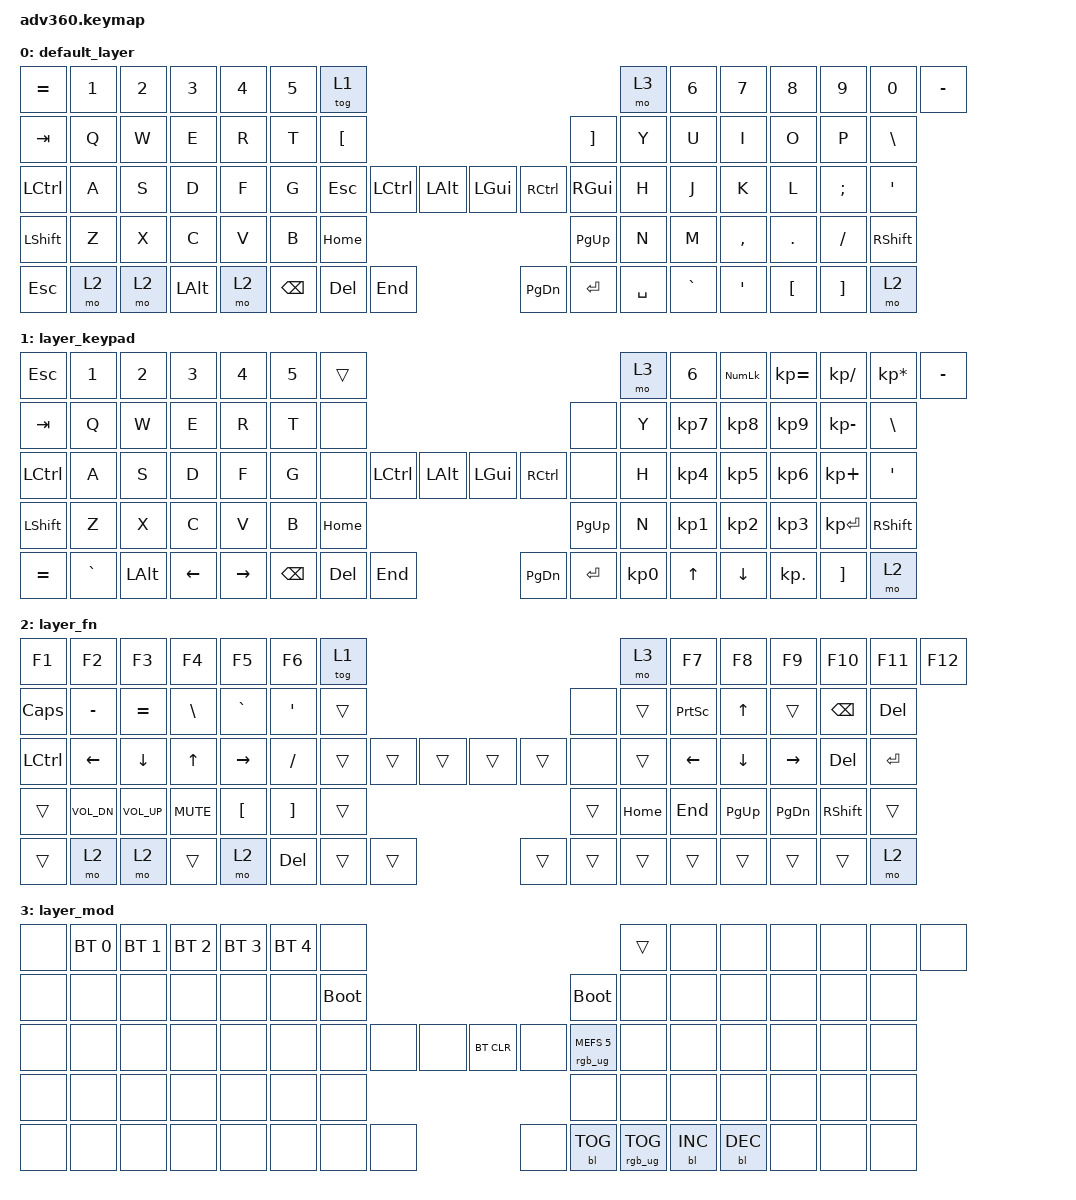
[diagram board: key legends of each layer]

/*
 * Copyright (c) 2020 The ZMK Contributors
 *
 * SPDX-License-Identifier: MIT
 */


/* THIS FILE WAS GENERATED!
 *
 * This file was generated automatically. You may or may not want to
 * edit it directly.
 */

#include <behaviors.dtsi>
#include <dt-bindings/zmk/keys.h>
#include <dt-bindings/zmk/bt.h>
#include <dt-bindings/zmk/rgb.h>
#include <dt-bindings/zmk/backlight.h>

/ {
  behaviors {
    #include "macros.dtsi"
    #include "version.dtsi"

    hm: homerow_mods {
        compatible = "zmk,behavior-hold-tap";
        label = "HOMEROW_MODS";
        #binding-cells = <2>;
        tapping-term-ms = <200>;
        quick_tap_ms = <175>;
        flavor = "tap-preferred";
        bindings = <&kp>, <&kp>;
    };
  };

    keymap {
        compatible = "zmk,keymap";


        default_layer {
            bindings = <
  &kp EQUAL  &kp N1  &kp N2    &kp N3  &kp N4  &kp N5                      &tog 1                                                                 &mo 3  &kp N6     &kp N7     &kp N8    &kp N9         &kp N0      &kp MINUS
    &kp TAB   &kp Q   &kp W     &kp E   &kp R   &kp T            &kp LEFT_BRACKET                                                              &kp RBKT   &kp Y      &kp U      &kp I     &kp O          &kp P  &kp BACKSLASH
  &kp LCTRL   &kp A   &kp S     &kp D   &kp F   &kp G                     &kp ESC  &kp LCTRL  &kp LALT                   &kp LGUI  &kp RCTRL   &kp RGUI   &kp H      &kp J      &kp K     &kp L  &kp SEMICOLON        &kp SQT
 &kp LSHIFT   &kp Z   &kp X     &kp C   &kp V   &kp B                                         &kp HOME                  &kp PG_UP                         &kp N      &kp M  &kp COMMA   &kp DOT       &kp FSLH     &kp RSHIFT
    &kp ESC   &mo 2   &mo 2  &kp LALT   &mo 2                            &kp BSPC    &kp DEL   &kp END                  &kp PG_DN  &kp ENTER  &kp SPACE          &kp GRAVE    &kp SQT  &kp LBKT       &kp RBKT          &mo 2
            >;
        };

        layer_keypad {
            bindings = <
          &kp ESC     &kp N1        &kp N2    &kp N3     &kp N4  &kp N5              &trans                                                                 &mo 3  &kp N6  &kp KP_NUM  &kp KP_EQUAL  &kp KP_DIVIDE  &kp KP_MULTIPLY  &kp MINUS
          &kp TAB      &kp Q         &kp W     &kp E      &kp R   &kp T               &none                                                                 &none   &kp Y   &kp KP_N7     &kp KP_N8      &kp KP_N9     &kp KP_MINUS   &kp BSLH
 &kp LEFT_CONTROL      &kp A         &kp S     &kp D      &kp F   &kp G               &none  &kp LCTRL  &kp LALT                   &kp LGUI  &kp RCTRL      &none   &kp H   &kp KP_N4     &kp KP_N5      &kp KP_N6      &kp KP_PLUS    &kp SQT
        &kp LSHFT      &kp Z         &kp X     &kp C      &kp V   &kp B                                 &kp HOME                  &kp PG_UP                         &kp N   &kp KP_N1     &kp KP_N2      &kp KP_N3     &kp KP_ENTER  &kp RSHFT
        &kp EQUAL  &kp GRAVE  &kp LEFT_ALT  &kp LEFT  &kp RIGHT                    &kp BSPC    &kp DEL   &kp END                  &kp PG_DN  &kp ENTER  &kp KP_N0              &kp UP      &kp DOWN     &kp KP_DOT         &kp RBKT      &mo 2
            >;
        };

        layer_fn {
            bindings = <
    &kp F1          &kp F2          &kp F3         &kp F4           &kp F5    &kp F6             &tog 1                                                   &mo 3    &kp F7          &kp F8          &kp F9          &kp F10          &kp F11    &kp F12
  &kp CAPS       &kp MINUS       &kp EQUAL  &kp BACKSLASH        &kp GRAVE   &kp SQT             &trans                                                   &none    &trans       &kp PSCRN    &kp UP_ARROW           &trans         &kp BSPC    &kp DEL
 &kp LCTRL  &kp LEFT_ARROW  &kp DOWN_ARROW   &kp UP_ARROW  &kp RIGHT_ARROW  &kp FSLH             &trans  &trans  &trans                  &trans  &trans   &none    &trans  &kp LEFT_ARROW  &kp DOWN_ARROW  &kp RIGHT_ARROW          &kp DEL  &kp ENTER
    &trans    &kp C_VOL_DN    &kp C_VOL_UP     &kp C_MUTE         &kp LBKT  &kp RBKT                             &trans                  &trans                  &kp HOME         &kp END       &kp PG_UP    &kp PAGE_DOWN  &kp RIGHT_SHIFT     &trans
    &trans           &mo 2           &mo 2         &trans            &mo 2                      &kp DEL  &trans  &trans                  &trans  &trans  &trans                    &trans          &trans           &trans           &trans      &mo 2
            >;
        };

        layer_mod {
            bindings = <
  &none  &bt BT_SEL 0  &bt BT_SEL 1  &bt BT_SEL 2  &bt BT_SEL 3  &bt BT_SEL 4                  &none                                                                          &trans   &none       &none       &none   &none   &none   &none
  &none         &none         &none         &none         &none         &none            &bootloader                                                                     &bootloader   &none       &none       &none   &none   &none   &none
  &none         &none         &none         &none         &none         &none                  &none   &none   &none                  &bt BT_CLR       &none  &rgb_ug RGB_MEFS_CMD 5   &none       &none       &none   &none   &none   &none
  &none         &none         &none         &none         &none         &none                                  &none                       &none                                       &none       &none       &none   &none   &none   &none
  &none         &none         &none         &none         &none                                &none   &none   &none                       &none  &bl BL_TOG         &rgb_ug RGB_TOG          &bl BL_INC  &bl BL_DEC   &none   &none   &none
            >;
        };

    };
};
